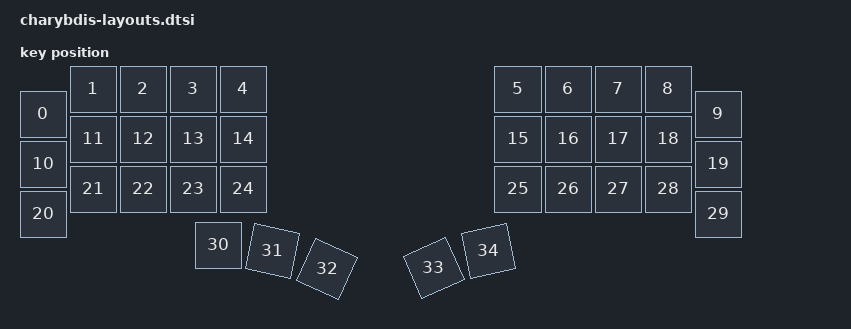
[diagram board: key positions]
/*
*
* Copyright (c) 2024 The ZMK Contributors
* SPDX-License-Identifier: MIT
*
*/

#include <physical_layouts.dtsi>

/ {
    default_layout: default_layout {
        compatible = "zmk,physical-layout";
        display-name = "Layout";

        transform = <&default_transform>;

        keys  //                     w   h    x    y     rot    rx    ry
            = <&key_physical_attrs 100 100    0   50       0     0     0>
            , <&key_physical_attrs 100 100  100    0       0     0     0>
            , <&key_physical_attrs 100 100  200    0       0     0     0>
            , <&key_physical_attrs 100 100  300    0       0     0     0>
            , <&key_physical_attrs 100 100  400    0       0     0     0>
            , <&key_physical_attrs 100 100  950    0       0     0     0>
            , <&key_physical_attrs 100 100 1050    0       0     0     0>
            , <&key_physical_attrs 100 100 1150    0       0     0     0>
            , <&key_physical_attrs 100 100 1250    0       0     0     0>
            , <&key_physical_attrs 100 100 1350   50       0     0     0>
            , <&key_physical_attrs 100 100    0  150       0     0     0>
            , <&key_physical_attrs 100 100  100  100       0     0     0>
            , <&key_physical_attrs 100 100  200  100       0     0     0>
            , <&key_physical_attrs 100 100  300  100       0     0     0>
            , <&key_physical_attrs 100 100  400  100       0     0     0>
            , <&key_physical_attrs 100 100  950  100       0     0     0>
            , <&key_physical_attrs 100 100 1050  100       0     0     0>
            , <&key_physical_attrs 100 100 1150  100       0     0     0>
            , <&key_physical_attrs 100 100 1250  100       0     0     0>
            , <&key_physical_attrs 100 100 1350  150       0     0     0>
            , <&key_physical_attrs 100 100    0  250       0     0     0>
            , <&key_physical_attrs 100 100  100  200       0     0     0>
            , <&key_physical_attrs 100 100  200  200       0     0     0>
            , <&key_physical_attrs 100 100  300  200       0     0     0>
            , <&key_physical_attrs 100 100  400  200       0     0     0>
            , <&key_physical_attrs 100 100  950  200       0     0     0>
            , <&key_physical_attrs 100 100 1050  200       0     0     0>
            , <&key_physical_attrs 100 100 1150  200       0     0     0>
            , <&key_physical_attrs 100 100 1250  200       0     0     0>
            , <&key_physical_attrs 100 100 1350  250       0     0     0>
            , <&key_physical_attrs 100 100  350  312       0     0     0>
            , <&key_physical_attrs 100 100  450  312    1200   450   412>
            , <&key_physical_attrs 100 100  550  320    2400   515   433>
            , <&key_physical_attrs 100 100  800  320 (-2400)   930   433>
            , <&key_physical_attrs 100 100  900  312 (-1200)  1000   412>
            ;
    };
};
